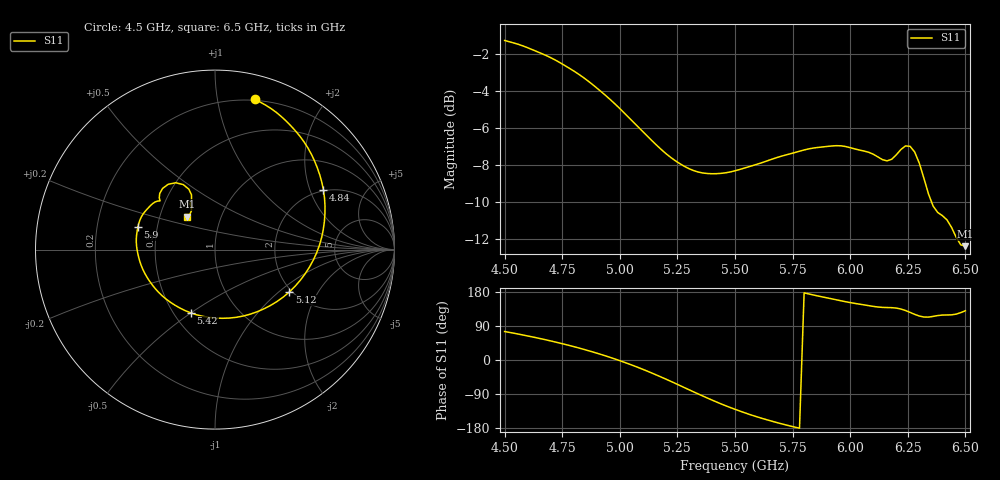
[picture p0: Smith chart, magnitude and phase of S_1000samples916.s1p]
! TOUCHSTONE file generated by CST MICROWAVE STUDIO
! Date and time: Sat Oct 29 19:11:22 2022
! Project name: L.cst
! Parameters = {Di=1.27; Epsilon_r=1.56; InnerDiameter=1.27; Length=2; Lf=10; Lg=60; OuterConductorThickness=0.2921; OuterDiameter=3.6; Wf=3; Wp=41.2; de=1.5; df=6.8; g=0.8; gx=4.40717; gy=1.96406; h=2.34; hf=1.524; px=14.794; py=8.78899; w=9.7; wx=10.3868; wy=6.82493}
! Header version: 2018
! Port assignment regex: !\s*Touchstone port\s*([0-9]+)\s*=\s*(CST MWS port|CST DS port)\s*([0-9]+|Zmin|Zmax)\s*\(\"(.*)\"\)(\s*mode\s*([0-9]+))?.*
! Touchstone port assignment:
! Touchstone port 1 = CST MWS port 1 ("")
# GHz S DB R 50
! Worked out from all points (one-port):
!   101 points, 4.5 GHz to 6.5 GHz, reference 50 ohm
!   lowest |S11| = -12.4 dB at 6.5 GHz (marker M1), VSWR 1.63, Z = 34.5 + j13.5 ohm
!   |S11| at or under -10 dB: 6.353 GHz to end of sweep
!   S11 on the Smith chart (normalised r, x): 4.5 GHz: 0.19, +1.28; 4.84 GHz: 1.97, +2.49; 5.12 GHz: 1.94, -1.18; 5.42 GHz: 0.61, -0.50; 5.9 GHz: 0.39, +0.12; 6.5 GHz: 0.69, +0.27
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4.5  -1.24 75.1
4.56  -1.46 68.4
4.64  -1.85 58.4
4.76  -2.59 41.5
4.84  -3.23 28.7
4.92  -4.03 14.3
5  -4.93 -1.8
5.06  -5.68 -15.1
5.12  -6.43 -29.6
5.18  -7.15 -45.1
5.26  -7.92 -67.1
5.34  -8.37 -89.5
5.42  -8.46 -110.9
5.5  -8.31 -130.1
5.62  -7.85 -154.5
5.76  -7.32 -177.2
5.9  -6.99 163.9
6  -7.05 151.5
6.1  -7.41 141.5
6.18  -7.68 138.1
6.22  -7.15 134.5
6.26  -6.98 125.6
6.3  -7.89 116.0
6.34  -9.56 113.2
6.36  -10.22 115.0
6.42  -10.96 118.8
6.46  -11.90 121.1
6.5  -12.39 129.9
